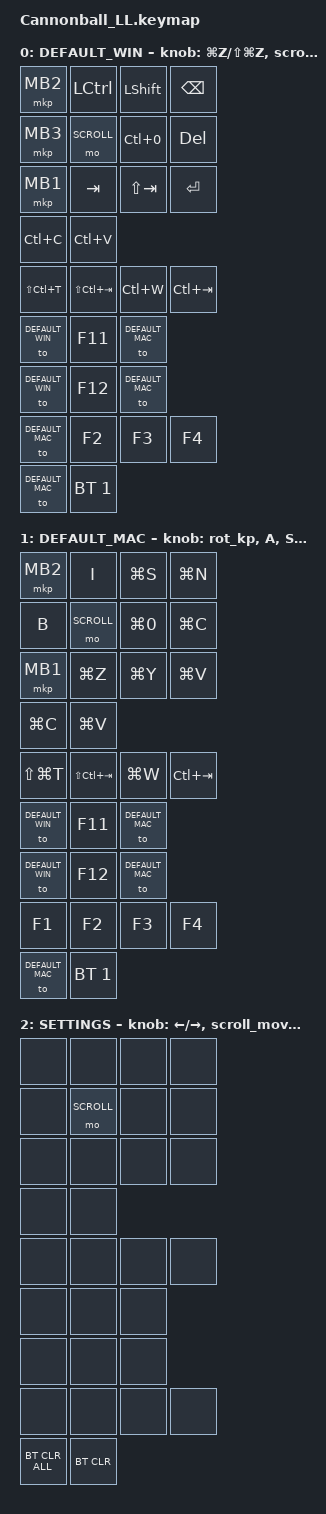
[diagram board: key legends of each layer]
#include <behaviors.dtsi>
#include <dt-bindings/zmk/bt.h>
#include <dt-bindings/zmk/keys.h>
#include <dt-bindings/zmk/pointing.h>
#include <dt-bindings/zmk/input_transform.h>

#define DEFAULT_WIN 0
#define DEFAULT_MAC 1
#define SCROLL 2

/ {
    /* Behaviors */
    msc {
        acceleration-exponent = <0>;
        time-to-max-speed-ms = <200>;
        delay-ms = <5>;
    };
    behaviors {
        rot_kp: sensor_rotate_kp {
            compatible = "zmk,behavior-sensor-rotate-var";
            #sensor-binding-cells = <2>;
            bindings = <&kp>, <&kp>;
        };

        rot_msc: sensor_rotate_msc {
            compatible = "zmk,behavior-sensor-rotate-var";
            #sensor-binding-cells = <2>;
            tap-ms = <20>;
            bindings = <&msc>, <&msc>;
        };

        scroll_move_y: sensor_rotate_msc_for_move_y {
            compatible = "zmk,behavior-sensor-rotate";
            #sensor-binding-cells = <0>;
            bindings = <&msc MOVE_Y(20)>, <&msc MOVE_Y(-20)>;
            tap-ms = <65>;
        };

        scroll_move_x: sensor_rotate_msc_for_move_x {
            compatible = "zmk,behavior-sensor-rotate";
            #sensor-binding-cells = <0>;
            bindings = <&msc MOVE_X(20)>, <&msc MOVE_X(-20)>;
            tap-ms = <65>;
        };
    };

    keymap {
        compatible = "zmk,keymap";

        DEFAULT_WIN {
            bindings = <
                // Key
                &mkp MB2   &kp LCTRL   &kp LSHFT    &kp BSPC
                &mkp MB3   &mo SCROLL  &kp LC(N0)   &kp DEL
                &mkp MB1   &kp TAB     &kp LS(TAB)  &kp RET
                // Mouse
                &kp LC(C) &kp LC(V)
                // Stick
                &kp LS(LC(T)) &kp LS(LC(TAB)) &kp LC(W) &kp LC(TAB)
                // Lever
                &to DEFAULT_WIN &kp F11 &to DEFAULT_MAC
                &to DEFAULT_WIN &kp F12 &to DEFAULT_MAC
                // Side
                &to DEFAULT_MAC &kp F2 &kp F3 &kp F4
                // Back
                &to DEFAULT_MAC &bt BT_SEL 1
            >;
            sensor-bindings = <
                &rot_kp LG(Z) LS(LG(Z))
                &scroll_move_y
                &rot_kp LG(PLUS) LG(MINUS)
            >;
        };

        DEFAULT_MAC {
    bindings = <
        // Key
        &mkp MB2   &kp I        &kp LG(S)    &kp LG(N)
        &kp B      &mo SCROLL   &kp LG(N0)   &kp LG(C)
        &mkp MB1   &kp LG(Z)    &kp LG(Y)    &kp LG(V)
        // Mouse
        &kp LG(C) &kp LG(V)
        // Stick
        &kp LS(LG(T)) &kp LS(LC(TAB)) &kp LG(W) &kp LC(TAB)
        // Lever
        &to DEFAULT_WIN &kp F11 &to DEFAULT_MAC
        &to DEFAULT_WIN &kp F12 &to DEFAULT_MAC
        // Side
        &kp F1 &kp F2 &kp F3 &kp F4
        // Back
        &to DEFAULT_MAC &bt BT_SEL 1
    >;
    sensor-bindings = <
        &rot_kp &kp A &kp S     // キャンバス回転: A / S（コマンドなし）
        &scroll_move_y
        &rot_kp LBKT RBKT       // ブラシサイズ変更: [ / ]
    >;
};


        SETTINGS {
            bindings = <
                &none &none &none &none
                &none &mo SCROLL &none &none
                &none &none &none &none
                // Mouse
                &none &none
                // Stick
                &none &none &none &none
                // Lever
                &none &none &none
                &none &none &none
                // Side
                &none &none &none &none
                // Back
                &bt BT_CLR_ALL &bt BT_CLR
            >;
            sensor-bindings = <
                &rot_kp LEFT RIGHT
                &scroll_move_y
                &scroll_move_x
            >;
        };
    };
};
